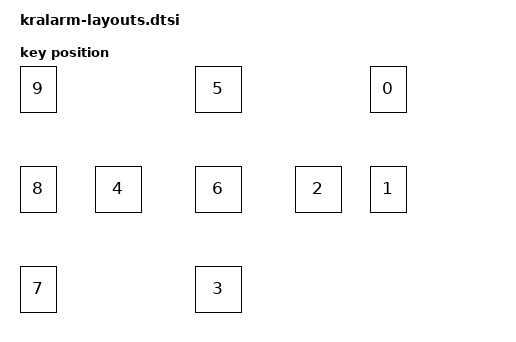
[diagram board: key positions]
#include <physical_layouts.dtsi>

/ {
    physical_layout0: physical_layout_0 {
        compatible = "zmk,physical-layout";
        display-name = "Default";

        keys  //                     w   h    x    y     rot    rx    ry
            = <&key_physical_attrs  80 100  700    0       0     0     0>
            , <&key_physical_attrs  80 100  700  200       0     0     0>
            , <&key_physical_attrs 100 100  550  200       0     0     0>
            , <&key_physical_attrs 100 100  350  400       0     0     0>
            , <&key_physical_attrs 100 100  150  200       0     0     0>
            , <&key_physical_attrs 100 100  350    0       0     0     0>
            , <&key_physical_attrs 100 100  350  200       0     0     0>
            , <&key_physical_attrs  80 100    0  400       0     0     0>
            , <&key_physical_attrs  80 100    0  200       0     0     0>
            , <&key_physical_attrs  80 100    0    0       0     0     0>
            ;
    };
};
